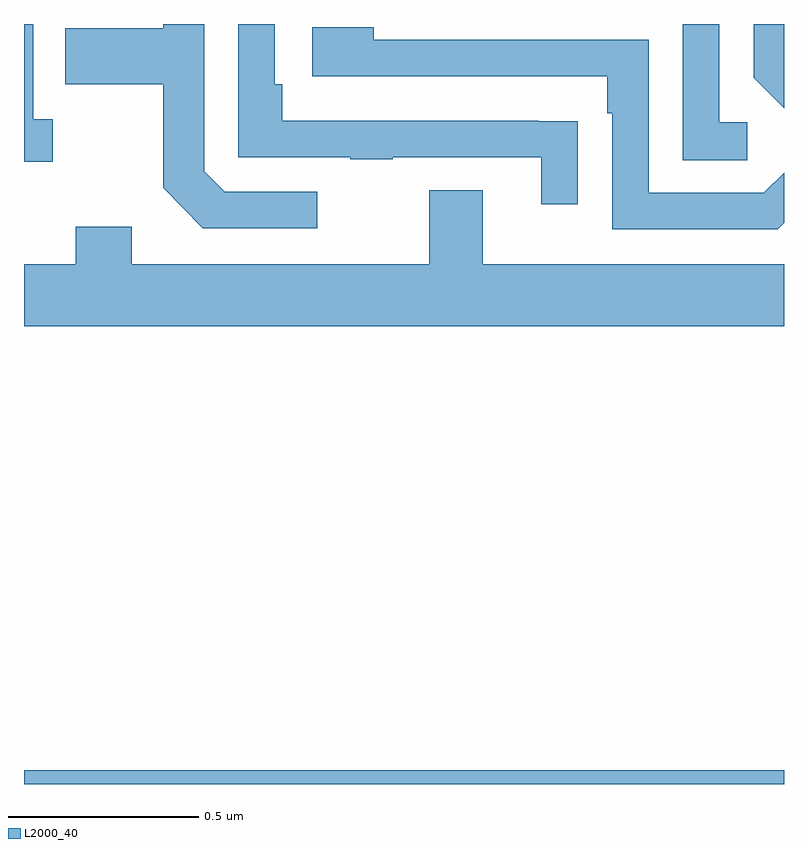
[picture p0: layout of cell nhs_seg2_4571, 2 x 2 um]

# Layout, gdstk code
import gdstk
lib = gdstk.Library(unit=1e-6, precision=1e-09)
def R(c, l, rs):  # rectangles x0, y0, x1, y1
    for r in rs: c.add(gdstk.rectangle(r[:2], r[2:], *l))
def P(c, l, *ps):  # polygons
    for p in ps: c.add(gdstk.Polygon(p, *l))
L2000_40 = (2000, 40)

nhs_seg2_4571 = lib.new_cell('nhs_seg2_4571')
R(nhs_seg2_4571, L2000_40, [(168,611.8,170,611.836)])
P(nhs_seg2_4571, L2000_40, [(168.076,613.55),(168.024,613.55),(168.024,613.8),(168,613.8),(168,613.437),(168.076,613.437)],
  [(169.903,613.542),(169.83,613.542),(169.83,613.8),(169.734,613.8),(169.734,613.441),(169.903,613.441)],
  [(170,613.8),(169.92,613.8),(169.92,613.658),(170,613.578)],
  [(168.772,613.359),(168.528,613.359),(168.474,613.413),(168.474,613.8),(168.366,613.8),(168.366,613.789),(168.109,613.789),(168.109,613.642),(168.366,613.642),(168.366,613.369),(168.471,613.263),(168.772,613.263)],
  [(169.457,613.544),(169.355,613.544),(169.355,613.545),(168.68,613.545),(168.68,613.642),(168.66,613.642),(168.66,613.8),(168.564,613.8),(168.564,613.449),(168.859,613.449),(168.859,613.444),(168.971,613.444),(168.971,613.449),(169.361,613.449),(169.361,613.326),(169.457,613.326)],
  [(170,613.277),(170,613.409),(169.947,613.356),(169.644,613.356),(169.644,613.758),(168.92,613.758),(168.92,613.792),(168.759,613.792),(168.759,613.662),(169.535,613.662),(169.535,613.565),(169.548,613.565),(169.548,613.26),(169.983,613.26)],
  [(170,613.168),(169.207,613.168),(169.207,613.363),(169.067,613.363),(169.067,613.168),(168.283,613.168),(168.283,613.267),(168.136,613.267),(168.136,613.168),(168,613.168),(168,613.004),(170,613.004)])

lib.write_gds('nhs_seg2_4571.gds')
